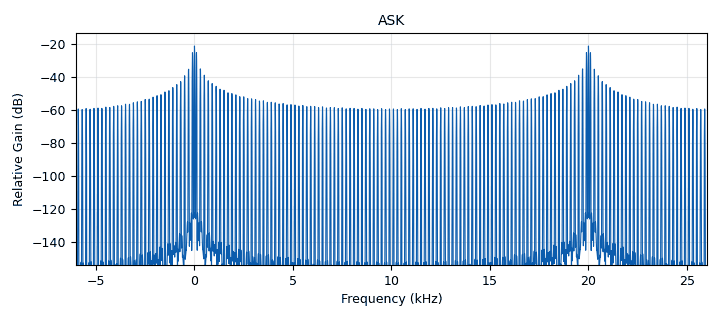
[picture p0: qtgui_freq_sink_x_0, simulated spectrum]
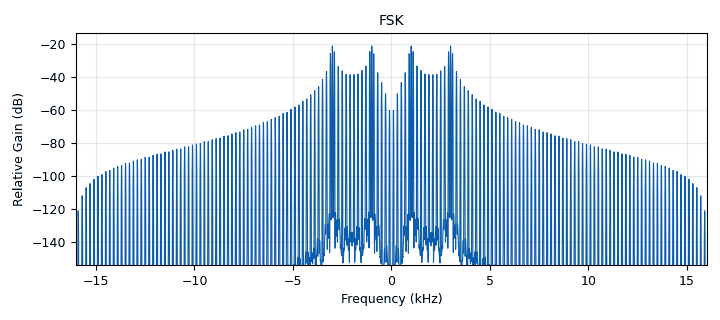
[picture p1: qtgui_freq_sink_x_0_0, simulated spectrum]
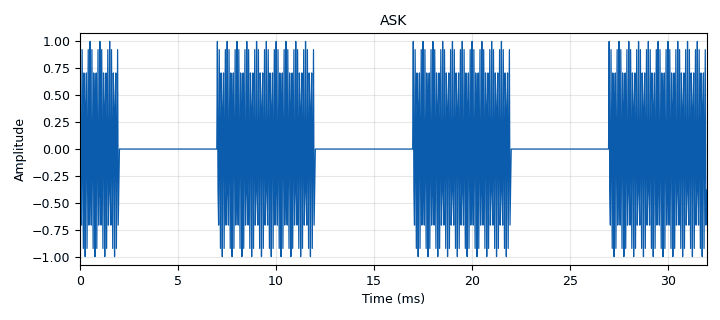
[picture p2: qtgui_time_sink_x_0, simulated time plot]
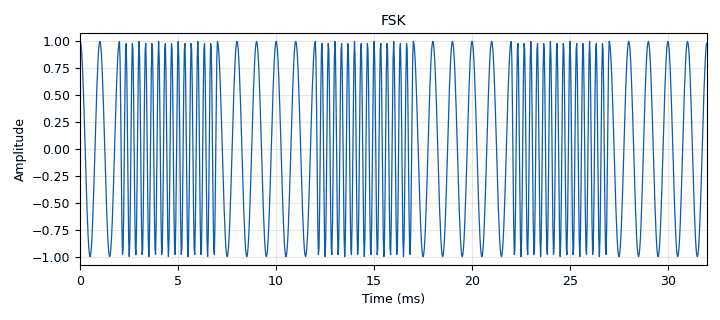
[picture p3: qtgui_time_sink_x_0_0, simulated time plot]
options:
  parameters:
    generate_options: qt_gui
    id: Lab3ActividadPrevia
    output_language: python
    title: Not titled yet
  states: {}

blocks:
- name: samp_rate
  id: variable
  parameters:
    value: '32000'
  states: {}
- name: analog_const_source_x_0
  id: analog_const_source_x
  parameters:
    const: '-1'
    type: float
  states: {}
- name: analog_sig_source_x_0
  id: analog_sig_source_x
  parameters:
    amp: '1'
    freq: '100'
    offset: '0'
    phase: '0'
    samp_rate: samp_rate
    type: float
    waveform: analog.GR_SQR_WAVE
  states: {}
- name: analog_sig_source_x_0_0
  id: analog_sig_source_x
  parameters:
    amp: '1'
    freq: '10000'
    offset: '0'
    phase: '0'
    samp_rate: samp_rate
    type: float
    waveform: analog.GR_COS_WAVE
  states: {}
- name: analog_sig_source_x_0_1
  id: analog_sig_source_x
  parameters:
    amp: '1'
    freq: '100'
    offset: '0'
    phase: '0'
    samp_rate: samp_rate
    type: float
    waveform: analog.GR_SQR_WAVE
  states: {}
- name: analog_sig_source_x_0_1_0
  id: analog_sig_source_x
  parameters:
    amp: '1'
    freq: '3000'
    offset: '0'
    phase: '0'
    samp_rate: samp_rate
    type: float
    waveform: analog.GR_COS_WAVE
  states: {}
- name: analog_sig_source_x_0_1_0_0
  id: analog_sig_source_x
  parameters:
    amp: '1'
    freq: '1000'
    offset: '0'
    phase: '0'
    samp_rate: samp_rate
    type: float
    waveform: analog.GR_COS_WAVE
  states: {}
- name: blocks_add_const_vxx_0
  id: blocks_add_const_vxx
  parameters:
    const: '-1'
    type: float
  states: {}
- name: blocks_add_xx_0
  id: blocks_add_xx
  parameters:
    type: float
  states: {}
- name: blocks_multiply_xx_0
  id: blocks_multiply_xx
  parameters:
    type: float
  states: {}
- name: blocks_multiply_xx_1
  id: blocks_multiply_xx
  parameters:
    type: float
  states: {}
- name: blocks_multiply_xx_1_0
  id: blocks_multiply_xx
  parameters:
    type: float
  states: {}
- name: blocks_multiply_xx_1_1
  id: blocks_multiply_xx
  parameters:
    type: float
  states: {}
- name: blocks_throttle2_0
  id: blocks_throttle2
  parameters:
    samples_per_second: samp_rate
    type: float
  states: {}
- name: qtgui_freq_sink_x_0
  id: qtgui_freq_sink_x
  parameters:
    autoscale: 'True'
    average: '0.1'
    bw: samp_rate
    fc: '10000'
    fftsize: '4096'
    grid: 'True'
    name: '"ASK"'
    type: float
    ymin: '-60'
  states: {}
- name: qtgui_freq_sink_x_0_0
  id: qtgui_freq_sink_x
  parameters:
    autoscale: 'True'
    average: '0.1'
    bw: samp_rate
    fc: '0'
    fftsize: '4096'
    grid: 'True'
    name: '"FSK"'
    type: float
    ymin: '-60'
  states: {}
- name: qtgui_time_sink_x_0
  id: qtgui_time_sink_x
  parameters:
    name: '"ASK"'
    size: '1024'
    srate: samp_rate
    type: float
  states: {}
- name: qtgui_time_sink_x_0_0
  id: qtgui_time_sink_x
  parameters:
    name: '"FSK"'
    size: '1024'
    srate: samp_rate
    type: float
    update_time: '0.5'
  states: {}

connections:
- [analog_const_source_x_0, '0', blocks_multiply_xx_1_0, '1']
- [analog_sig_source_x_0, '0', blocks_multiply_xx_0, '1']
- [analog_sig_source_x_0_0, '0', blocks_multiply_xx_0, '0']
- [analog_sig_source_x_0_1, '0', blocks_add_const_vxx_0, '0']
- [analog_sig_source_x_0_1, '0', blocks_multiply_xx_1_1, '1']
- [analog_sig_source_x_0_1_0, '0', blocks_multiply_xx_1, '1']
- [analog_sig_source_x_0_1_0_0, '0', blocks_multiply_xx_1_1, '0']
- [blocks_add_const_vxx_0, '0', blocks_multiply_xx_1_0, '0']
- [blocks_add_xx_0, '0', qtgui_freq_sink_x_0_0, '0']
- [blocks_add_xx_0, '0', qtgui_time_sink_x_0_0, '0']
- [blocks_multiply_xx_0, '0', blocks_throttle2_0, '0']
- [blocks_multiply_xx_1, '0', blocks_add_xx_0, '1']
- [blocks_multiply_xx_1_0, '0', blocks_multiply_xx_1, '0']
- [blocks_multiply_xx_1_1, '0', blocks_add_xx_0, '0']
- [blocks_throttle2_0, '0', qtgui_freq_sink_x_0, '0']
- [blocks_throttle2_0, '0', qtgui_time_sink_x_0, '0']

metadata:
  file_format: 1
  grc_version: 3.10.9.2
